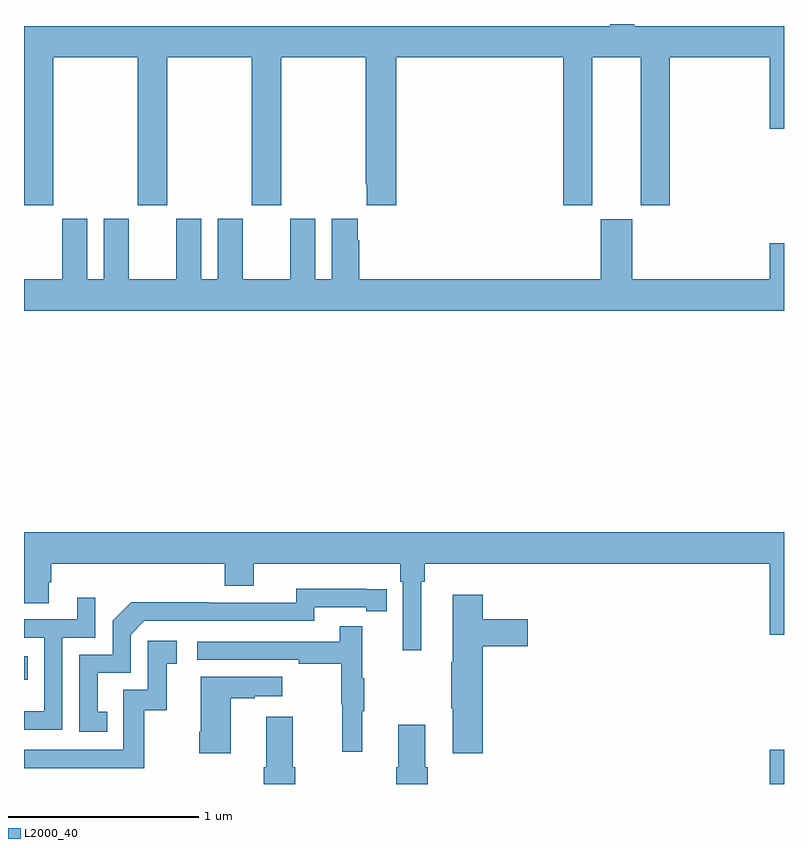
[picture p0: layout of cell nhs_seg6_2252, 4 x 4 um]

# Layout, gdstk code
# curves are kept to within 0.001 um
import gdstk
lib = gdstk.Library(unit=1e-6, precision=1e-09)
def R(c, l, rs):  # rectangles x0, y0, x1, y1
    for r in rs: c.add(gdstk.rectangle(r[:2], r[2:], *l))
def P(c, l, *ps):  # polygons
    for p in ps: c.add(gdstk.Polygon(p, *l))
L2000_40 = (2000, 40)

nhs_seg6_2252 = lib.new_cell('nhs_seg6_2252')
R(nhs_seg6_2252, L2000_40, [(248.924,955.5,249,955.681), (245,956.049,245.021,956.172)])
P(nhs_seg6_2252, L2000_40, [(245.154,959.324),(245.599,959.324),(245.599,958.545),(245.754,958.545),(245.754,959.324),(246.199,959.324),(246.199,958.545),(246.354,958.545),(246.354,959.324),(246.799,959.324),(246.799,958.657),(246.803,958.657),(246.803,958.545),(246.959,958.545),(246.959,959.324),(247.838,959.324),(247.838,958.545),(247.99,958.545),(247.99,959.324),(248.246,959.324),(248.246,958.545),(248.399,958.545),(248.399,959.324),(248.924,959.324),(248.924,958.95),(249,958.95),(249,959.488),(248.213,959.488),(248.213,959.5),(248.085,959.5),(248.085,959.488),(245,959.488),(245,958.545),(245.154,958.545)],
  [(249,958.345),(248.924,958.345),(248.924,958.156),(248.2,958.156),(248.2,958.473),(248.036,958.473),(248.036,958.156),(246.764,958.156),(246.764,958.361),(246.757,958.361),(246.757,958.474),(246.62,958.474),(246.62,958.156),(246.532,958.156),(246.532,958.474),(246.401,958.474),(246.401,958.156),(246.151,958.156),(246.151,958.474),(246.02,958.474),(246.02,958.156),(245.932,958.156),(245.932,958.474),(245.801,958.474),(245.801,958.156),(245.551,958.156),(245.551,958.474),(245.42,958.474),(245.42,958.156),(245.332,958.156),(245.332,958.474),(245.201,958.474),(245.201,958.156),(245,958.156),(245,957.992),(249,957.992)],
  [(247.09,956.564),(247.109,956.564),(247.109,956.66),(248.924,956.66),(248.924,956.286),(249,956.286),(249,956.824),(245,956.824),(245,956.452),(245.131,956.452),(245.131,956.562),(245.144,956.562),(245.144,956.66),(246.056,956.66),(246.056,956.543),(246.208,956.543),(246.208,956.66),(246.98,956.66),(246.98,956.564),(246.993,956.564),(246.993,956.205),(247.09,956.205)],
  [(245.438,955.881),(245.389,955.881),(245.389,956.085),(245.562,956.085),(245.562,956.286),(245.634,956.358),(246.528,956.358),(246.528,956.43),(246.8,956.43),(246.8,956.41),(246.908,956.41),(246.908,956.526),(246.432,956.527),(246.432,956.454),(245.972,956.454),(245.972,956.456),(245.564,956.456),(245.466,956.358),(245.466,956.181),(245.292,956.181),(245.292,955.776),(245.438,955.776)],
  [(247.415,956.225),(247.651,956.225),(247.651,956.367),(247.415,956.367),(247.415,956.497),(247.256,956.497),(247.256,956.141),(247.249,956.141),(247.249,955.9),(247.256,955.9),(247.256,955.662),(247.415,955.662)],
  [(245.202,956.271),(245.376,956.271),(245.376,956.479),(245.279,956.479),(245.279,956.367),(245,956.367),(245,956.271),(245.106,956.271),(245.106,955.882),(245,955.882),(245,955.785),(245.202,955.785)],
  [(246.779,955.883),(246.79,955.883),(246.79,956.057),(246.779,956.057),(246.779,956.329),(246.661,956.329),(246.661,956.25),(245.913,956.25),(245.913,956.154),(246.445,956.154),(246.445,956.134),(246.669,956.134),(246.669,955.92),(246.676,955.92),(246.676,955.671),(246.779,955.671)],
  [(245.632,955.887),(245.75,955.887),(245.75,956.133),(245.803,956.133),(245.803,956.254),(245.652,956.254),(245.652,955.995),(245.523,955.995),(245.523,955.68),(245,955.68),(245,955.584),(245.632,955.584)],
  [(246.088,955.951),(246.215,955.951),(246.215,955.961),(246.358,955.961),(246.358,956.065),(245.93,956.065),(245.93,955.774),(245.923,955.774),(245.923,955.662),(246.088,955.662)],
  [(246.428,955.588),(246.415,955.588),(246.415,955.855),(246.275,955.855),(246.275,955.588),(246.263,955.588),(246.263,955.5),(246.428,955.5)],
  [(247.124,955.588),(247.111,955.588),(247.111,955.813),(246.971,955.813),(246.971,955.588),(246.959,955.588),(246.959,955.5),(247.124,955.5)])

lib.write_gds('nhs_seg6_2252.gds')
